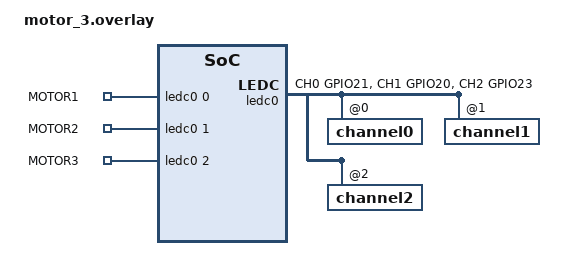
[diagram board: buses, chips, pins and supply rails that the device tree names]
/* RiskyBird ESP32-C6 target configuration. */
/*
 * SPDX-License-Identifier: Apache-2.0
 *
 * Overlay for 3 motor PWMs on ESP32C6 (custom PCB).
 * Routed PCB mapping: MOTOR1=GPIO21, MOTOR2=GPIO20, MOTOR3=GPIO23.
 * 20 kHz PWM (same as working single-motor setup).
 */

#include <zephyr/dt-bindings/pwm/pwm.h>

/ {
	aliases {
		pwm-0 = &ledc0;
		pwm-motor0 = &pwm_motor0;
		pwm-motor1 = &pwm_motor1;
		pwm-motor2 = &pwm_motor2;
	};

	pwmleds {
		compatible = "pwm-leds";

		pwm_motor0: pwm_motor_gpio21 {
			label = "MOTOR1";
			pwms = <&ledc0 0 20000 PWM_POLARITY_NORMAL>;
		};

		pwm_motor1: pwm_motor_gpio20 {
			label = "MOTOR2";
			pwms = <&ledc0 1 20000 PWM_POLARITY_NORMAL>;
		};

		pwm_motor2: pwm_motor_gpio23 {
			label = "MOTOR3";
			pwms = <&ledc0 2 20000 PWM_POLARITY_NORMAL>;
		};
	};
};

&pinctrl {
	ledc0_default: ledc0_default {
		group1 {
			pinmux = <LEDC_CH0_GPIO21>,
				 <LEDC_CH1_GPIO20>,
				 <LEDC_CH2_GPIO23>;
			output-enable;
		};
	};
};

&ledc0 {
	pinctrl-0 = <&ledc0_default>;
	pinctrl-names = "default";
	status = "okay";
	#address-cells = <1>;
	#size-cells = <0>;

	channel0@0 {
		reg = <0x0>;
		timer = <0>;
	};

	channel1@1 {
		reg = <0x1>;
		timer = <0>;
	};

	channel2@2 {
		reg = <0x2>;
		timer = <0>;
	};
};
